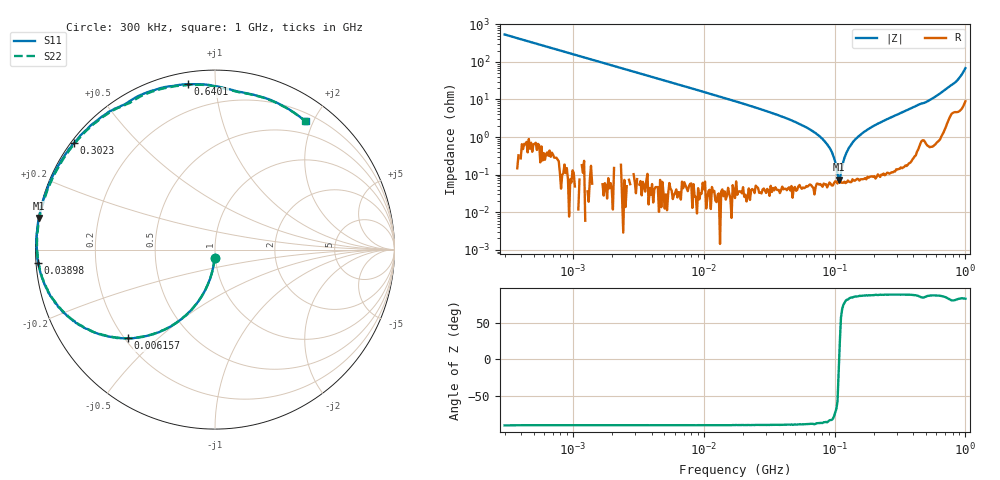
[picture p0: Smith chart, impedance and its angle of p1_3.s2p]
#  HZ  S  RI  R  50
! Rohde & Schwarz ZVA/B
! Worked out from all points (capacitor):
!   401 points, 300 kHz to 1 GHz, reference 50 ohm
!   read as one part in shunt: C = 994 pF near 312.4 kHz
!   lowest |Z| = 73.7 mohm at 107.5 MHz (marker M1)
!   series resonance near 108.4 MHz, so ESL is about 2.2 nH
!   S11 on the Smith chart (normalised r, x): 300 kHz: 0.99, -0.09; 6.157 MHz: 0.21, -0.40; 38.98 MHz: 0.01, -0.04; 302.3 MHz: 0.01, +0.33; 640.1 MHz: 0.06, +0.85; 1 GHz: 0.31, +1.89
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300000  -0.00183 -0.0463  0.9978 -0.0471  0.9981 -0.0471  -0.00208 -0.0456
1167356  -0.0322 -0.1757  0.9674 -0.1776  0.9677 -0.1779  -0.0328 -0.1753
2472121  -0.1303 -0.3341  0.8686 -0.3378  0.8703 -0.3398  -0.1302 -0.3343
4542403  -0.3373 -0.4689  0.6628 -0.4769  0.6621 -0.4754  -0.3364 -0.4678
6157346  -0.4843 -0.4945  0.515 -0.5042  0.5145 -0.5052  -0.4852 -0.4931
1.732051e7  -0.8939 -0.2932  0.1065 -0.3227  0.1065 -0.322  -0.8916 -0.291
3.89806e7  -0.9851 -0.0741  0.012 -0.1411  0.0119 -0.141  -0.9839 -0.0719
6.739735e7  -0.9925 0.0547  -0.00142 -0.0579  -0.00131 -0.0581  -0.9918 0.0595
8.089238e7  -0.9915 0.0995  -0.00176 -0.0354  -0.00139 -0.0351  -0.9883 0.1058
9.135888e7  -0.9875 0.132  -0.000368 -0.0208  -0.000894 -0.0205  -0.9839 0.1386
9.708952e7  -0.9864 0.1487  1.69e-05 -0.0133  0.000412 -0.013  -0.9815 0.1549
1.074505e8  -0.9811 0.1765  0.00257 -0.00136  0.00245 -0.0015  -0.9756 0.1837
1.118981e8  -0.9779 0.1888  0.00309 0.00318  0.00312 0.00287  -0.9737 0.1958
1.238394e8  -0.9706 0.2193  0.00584 0.0145  0.00604 0.0145  -0.9663 0.2258
1.398627e8  -0.9603 0.2592  0.0106 0.0284  0.0104 0.0282  -0.955 0.2665
1.74816e8  -0.9327 0.3406  0.0226 0.0529  0.0229 0.0532  -0.9259 0.3486
2.622557e8  -0.8406 0.5201  0.0651 0.0965  0.0653 0.0965  -0.8279 0.53
3.022563e8  -0.7869 0.5936  0.0893 0.1089  0.0891 0.1095  -0.7722 0.6025
4.917542e8  -0.4623 0.835  0.2138 0.0954  0.214 0.0952  -0.444 0.8362
6.400909e8  -0.152 0.922  0.31 0.0346  0.3098 0.0342  -0.1381 0.9194
8.502417e8  0.2425 0.8554  0.3438 -0.1321  0.3445 -0.1328  0.2457 0.8535
1e9  0.5057 0.7142  0.335 -0.2583  0.3358 -0.2579  0.5008 0.7175
